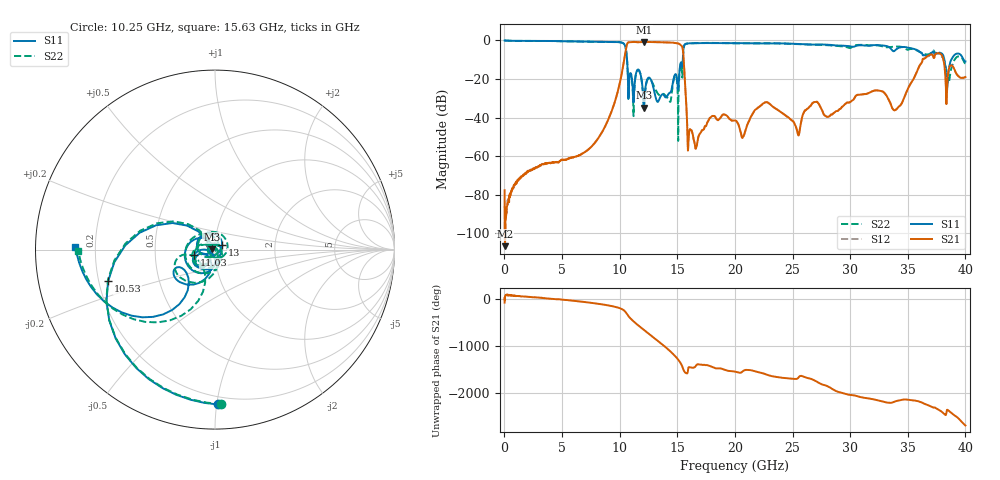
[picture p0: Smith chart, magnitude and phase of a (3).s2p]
! Mini-Circuits
! S2P DATA File Format
! Type: BAND PASS FILTER
! Model: ABF-13G+
! All S Parameters are in dB deg format
! TEST CONDITIONS: INPUT POWER = 0 dBm; +25 deg C
# MHz S DB R 50
!Frequency  S11 dB  S11 DEG  S21 dB  S21 DEG  S12 dB  S12 DEG  S22 dB  S22 DEG
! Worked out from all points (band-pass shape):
!   1484 points, 10 MHz to 40 GHz, reference 50 ohm
!   highest |S21| = -0.75 dB at 12.1 GHz (marker M1); lowest = -106.7 dB at 50 MHz (marker M2)
!   |S21| within 3 dB of the highest: 10.56 GHz to 15.45 GHz (4.895 GHz wide, 37.6 % of centre)
!   lowest |S11| = -34.9 dB at 12.1 GHz (marker M3), VSWR 1.04, Z = 48.3 + j0.25 ohm
!   |S11| at or under -10 dB: 10.64 GHz to 15.47 GHz (4.833 GHz wide, 37 % of centre); 38.17 GHz to 38.77 GHz (596.8 MHz wide, 1.55 % of centre); 39.84606 GHz to end of sweep
!   |S22| runs from -52.1 to 0.0 dB; largest |S21 - S12| = 0.0011
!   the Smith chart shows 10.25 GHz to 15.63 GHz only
!   S11 on the Smith chart (normalised r, x): 10.25 GHz: 0.15, -1.01; 10.53 GHz: 0.24, -0.14; 11.03 GHz: 0.79, -0.05; 13 GHz: 1.08, +0.06; 15.63 GHz: 0.13, +0.01
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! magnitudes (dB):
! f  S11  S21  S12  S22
! 10 MHz  0.0  -77.7  -97.8  0.0
! 50 MHz  -0.1  -106.7  -95.5  -0.1
! 6.675 GHz  -0.6  -58.9  -58.9  -0.6
! 8.8 GHz  -0.7  -43.8  -43.8  -0.7
! 10.25 GHz  -1.3  -14.8  -14.8  -1.3
! 10.53 GHz  -4.1  -4.8  -4.8  -4.2
! 11.03 GHz  -18.5  -0.9  -0.9  -18.8
! 11.65 GHz  -15.2  -0.9  -0.9  -15.5
! 12.1 GHz  -34.9  -0.8  -0.7  -34.3
! 13 GHz  -26.5  -0.8  -0.8  -24.2
! 13.35 GHz  -31.5  -0.9  -0.9  -27.9
! 15.05 GHz  -24.7  -1.5  -1.5  -32.3
! 15.63 GHz  -2.2  -17.9  -17.9  -2.4
! 15.94 GHz  -1.5  -55.2  -55.2  -1.6
! 20.02 GHz  -1.4  -41.6  -41.6  -1.5
! 20.73 GHz  -1.4  -49.7  -49.9  -1.5
! 22.75 GHz  -1.6  -32.0  -32.0  -1.5
! 25.5 GHz  -1.9  -49.2  -49.3  -1.9
! 26.68 GHz  -2.2  -32.8  -32.8  -2.1
! 33.35 GHz  -3.4  -30.9  -30.8  -3.5
! 36.8 GHz  -8.2  -8.0  -8.0  -7.3
! 40 GHz  -10.9  -19.0  -19.0  -12.0
